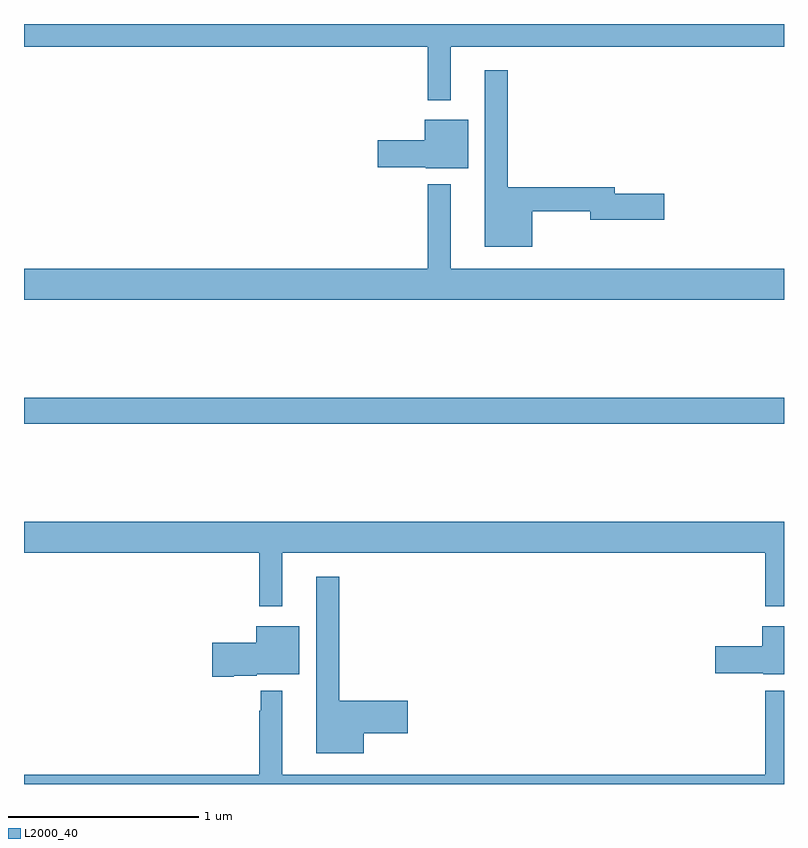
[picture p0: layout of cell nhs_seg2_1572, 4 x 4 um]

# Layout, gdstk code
import gdstk
lib = gdstk.Library(unit=1e-6, precision=1e-09)
def R(c, l, rs):  # rectangles x0, y0, x1, y1
    for r in rs: c.add(gdstk.rectangle(r[:2], r[2:], *l))
def P(c, l, *ps):  # polygons
    for p in ps: c.add(gdstk.Polygon(p, *l))
L2000_40 = (2000, 40)

nhs_seg2_1572 = lib.new_cell('nhs_seg2_1572')
R(nhs_seg2_1572, L2000_40, [(193,601.696,197,601.832)])
P(nhs_seg2_1572, L2000_40, [(193,603.68),(195.126,603.68),(195.126,603.399),(195.247,603.399),(195.247,603.68),(197,603.68),(197,603.8),(193,603.8)],
  [(195.676,602.814),(195.98,602.814),(195.98,602.771),(196.369,602.771),(196.369,602.906),(196.108,602.906),(196.108,602.942),(195.547,602.942),(195.547,603.556),(195.425,603.556),(195.425,602.627),(195.676,602.627)],
  [(195.337,603.295),(195.11,603.295),(195.11,603.189),(194.862,603.189),(194.862,603.047),(195.114,603.047),(195.114,603.041),(195.337,603.041)],
  [(197,602.512),(195.247,602.512),(195.247,602.956),(195.126,602.956),(195.126,602.512),(193,602.512),(193,602.348),(197,602.348)],
  [(194.359,601.016),(196.902,601.016),(196.902,600.735),(197,600.735),(197,601.18),(193,601.18),(193,601.016),(194.238,601.016),(194.238,600.735),(194.359,600.735)],
  [(194.788,600.068),(195.019,600.068),(195.019,600.239),(194.659,600.239),(194.659,600.892),(194.537,600.892),(194.537,599.963),(194.788,599.963)],
  [(194.104,600.371),(194.226,600.371),(194.226,600.377),(194.449,600.377),(194.449,600.631),(194.222,600.631),(194.222,600.543),(193.992,600.543),(193.992,600.365),(194.104,600.365)],
  [(197,600.631),(196.886,600.631),(196.886,600.525),(196.638,600.525),(196.638,600.383),(196.89,600.383),(196.89,600.377),(197,600.377)],
  [(194.359,600.292),(194.245,600.292),(194.245,600.185),(194.238,600.185),(194.238,599.848),(193,599.848),(193,599.8),(197,599.8),(197,600.292),(196.902,600.292),(196.902,599.848),(194.359,599.848)])

lib.write_gds('nhs_seg2_1572.gds')
